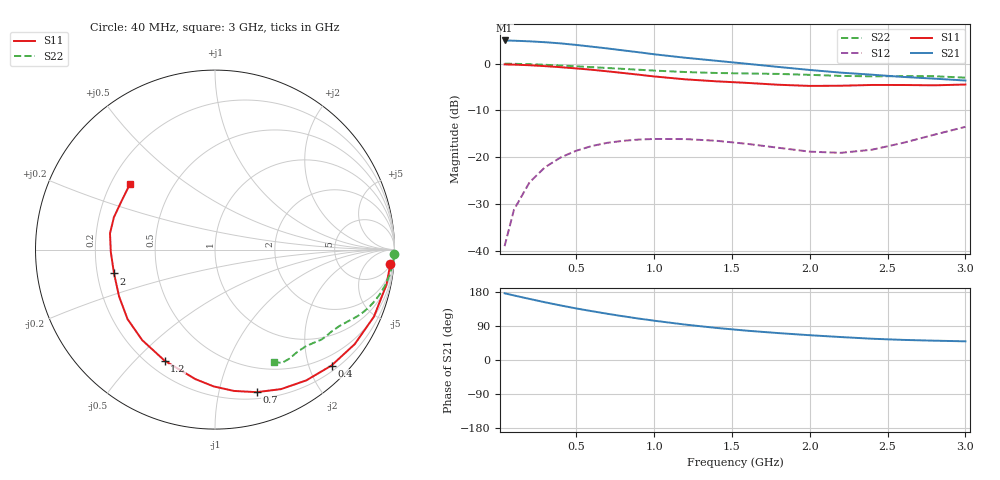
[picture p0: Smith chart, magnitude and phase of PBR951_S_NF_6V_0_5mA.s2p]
! Filename:  PBR951J.S2P  Version:  3.0
! Philips part #:  PBR951  Date: July 1998
! Bias condition:  Vce=6V, Ic=0.5mA
#  MHz  S  MA  R 50
! Freq  S11  S21  S12  S22
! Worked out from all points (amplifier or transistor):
!   21 points, 40 MHz to 3 GHz, reference 50 ohm
!   highest |S21| = 4.9 dB at 40 MHz (marker M1)
!   |S21| within 3 dB of that: start of sweep to 1.015 GHz
!   unconditionally stable (mu >= 1): 1.877 GHz to 2.937 GHz
!   at 300 MHz: K = 0.13, MSG = 13.3 dB, |S12| = -22.1 dB
!   at 1 GHz: K = 0.44, MSG = 9.0 dB, |S12| = -16.1 dB
!   at 3 GHz: K = 1.00, MSG = 4.9 dB, |S12| = -13.5 dB
!   lowest NFmin = 0.62 dB at 800 MHz
!   S11 on the Smith chart (normalised r, x): 40 MHz: 6, -23; 400 MHz: 0.30, -2.39; 700 MHz: 0.26, -1.30; 1.2 GHz: 0.27, -0.61; 2 GHz: 0.27, -0.11; 3 GHz: 0.28, +0.32
40  0.9802 -4.6  1.766 176.0  0.01129 86.4  0.9983 -1.6
100  0.9753 -11.5  1.755 170.4  0.0276 82.5  0.995 -3.9
200  0.9611 -22.9  1.729 161.2  0.05415 76.1  0.9855 -7.7
300  0.94 -34.0  1.691 152.3  0.07854 69.8  0.9717 -11.3
400  0.9158 -44.8  1.643 144.0  0.0998 63.9  0.9546 -14.7
500  0.8886 -55.1  1.582 136.1  0.1177 58.6  0.9359 -17.7
600  0.86 -64.7  1.516 128.9  0.1322 53.9  0.9168 -20.4
700  0.8274 -73.7  1.452 122.0  0.1429 49.6  0.8976 -22.7
800  0.7946 -82.3  1.384 115.5  0.1501 45.6  0.8789 -24.8
900  0.7622 -90.6  1.322 109.4  0.1548 42.1  0.8603 -26.6
1000  0.7298 -98.6  1.258 103.8  0.1571 39.1  0.8426 -28.2
1200  0.6796 -114.4  1.155 93.5  0.1567 34.4  0.8132 -31.6
1400  0.6473 -128.8  1.072 84.7  0.1502 31.8  0.7944 -34.9
1600  0.6224 -141.5  0.9945 77.2  0.1392 32.4  0.7849 -37.9
1800  0.5949 -153.9  0.921 71.0  0.1265 36.3  0.7762 -40.3
2000  0.5782 -166.7  0.8555 65.4  0.1151 44.2  0.7586 -42.9
2200  0.5807 -178.7  0.8012 60.6  0.1118 56.0  0.7393 -46.7
2400  0.5919 171.2  0.7617 56.1  0.1207 69.2  0.7317 -51.4
2600  0.5914 162.3  0.721 53.1  0.1429 79.8  0.7355 -55.8
2800  0.5867 152.6  0.691 51.0  0.1744 86.1  0.7333 -59.3
3000  0.5982 142.4  0.66 49.3  0.2116 89.6  0.7085 -62.6
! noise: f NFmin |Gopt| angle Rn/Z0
500  1.41  0.706  36.06  0.709
800  0.616  0.866  55.31  0.67
1000  1.532  0.66  74.31  0.574
1500  2.363  0.598  120.2  0.376
2000  3.561  0.619  164.8  0.118
